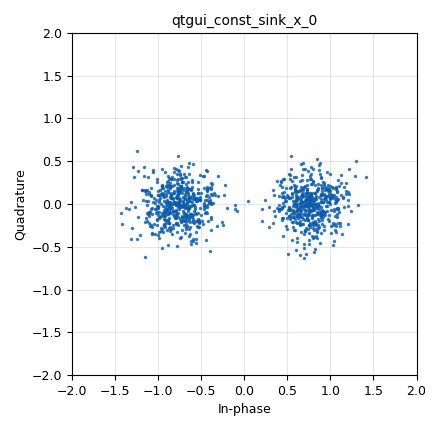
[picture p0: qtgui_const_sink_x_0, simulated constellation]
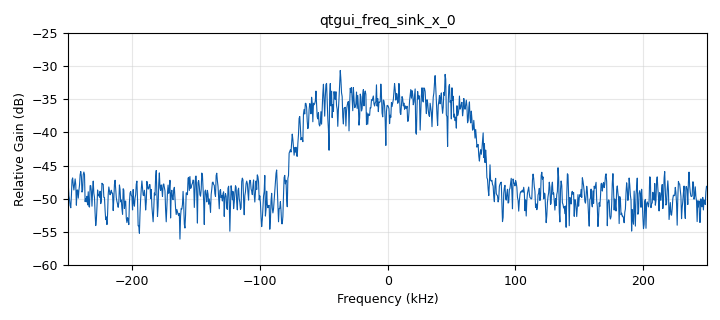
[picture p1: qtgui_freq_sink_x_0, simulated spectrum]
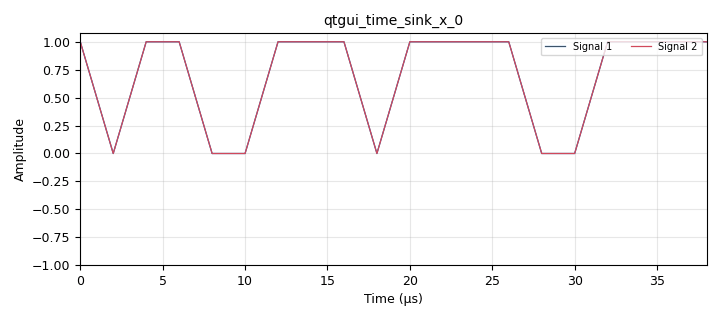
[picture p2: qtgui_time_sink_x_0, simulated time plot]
options:
  parameters:
    author: Marc Lichtman
    generate_options: qt_gui
    id: pn11_over_difi
    output_language: python
    title: PN11 Over DIFI
  states: {}

blocks:
- name: constellation_obj
  id: variable_constellation
  parameters:
    precision: '8'
    type: bpsk
  states: {}
- name: constellation_obj
  id: variable_constellation_rect
  parameters:
    const_points: '[-1-1j, -1+1j, 1+1j, 1-1j]'
    imag_sect: '2'
    real_sect: '2'
    rot_sym: '4'
    sym_map: '[0, 1, 3, 2]'
    w_imag_sect: '1'
    w_real_sect: '1'
  states: {state: disabled}
- name: samp_rate
  id: variable
  parameters:
    value: '500000'
  states: {}
- name: sps
  id: variable
  parameters:
    value: '4'
  states: {}
- name: analog_fastnoise_source_x_0
  id: analog_fastnoise_source_x
  parameters:
    amp: '0.4'
    noise_type: analog.GR_GAUSSIAN
    samples: '8192'
    seed: '0'
    type: complex
  states: {}
- name: blocks_add_xx_0
  id: blocks_add_xx
  parameters:
    type: complex
  states: {}
- name: blocks_char_to_float_0
  id: blocks_char_to_float
  parameters:
    scale: '1'
  states: {}
- name: blocks_char_to_float_0_0
  id: blocks_char_to_float
  parameters:
    scale: '1'
  states: {}
- name: blocks_delay_0_0
  id: blocks_delay
  parameters:
    delay: '21'
    type: byte
  states: {state: disabled}
- name: blocks_message_debug_0
  id: blocks_message_debug
  parameters: {}
  states: {state: disabled}
- name: blocks_multiply_const_vxx_0
  id: blocks_multiply_const_vxx
  parameters:
    const: 127*0.7
    type: complex
  states: {}
- name: blocks_multiply_const_vxx_0_0
  id: blocks_multiply_const_vxx
  parameters:
    comment: |-
      symbol sync likes the
      signal to be close to -1 to +1
    const: 1/127
    type: complex
  states: {}
- name: blocks_pack_k_bits_bb_0
  id: blocks_pack_k_bits_bb
  parameters:
    k: '8'
  states: {}
- name: blocks_probe_rate_0
  id: blocks_probe_rate
  parameters:
    alpha: '0.15'
    mintime: '500.0'
    type: float
  states: {state: disabled}
- name: blocks_skiphead_0
  id: blocks_skiphead
  parameters:
    num_items: '21'
    type: byte
  states: {}
- name: blocks_throttle2_0
  id: blocks_throttle2
  parameters:
    samples_per_second: samp_rate
    type: byte
  states: {}
- name: blocks_unpack_k_bits_bb_0
  id: blocks_unpack_k_bits_bb
  parameters:
    k: '2'
  states: {state: bypassed}
- name: difi_sink_cpp_0
  id: difi_sink_cpp
  parameters:
    bit_depth: '8'
    context_pack_size: '108'
    context_packet_send_count: '1000'
    data_size: '128'
    gain: '1.0'
    ip_addr: 127.0.0.1
    max_iq: '127'
    min_iq: '-127'
    mode: 'False'
    offset: '0'
    port: '50003'
    protocol: '2'
    reference_time_frac: '0'
    reference_time_full: '0'
    sample_rate: samp_rate
    scaling: '2'
    stream_id: '0'
    type: complex
  states: {state: disabled}
- name: difi_source_cpp_0_0
  id: difi_source_cpp
  parameters:
    bit_depth: '8'
    context_behavior: '0'
    ip_addr: 127.0.0.1
    port: '50003'
    protocol: '2'
    stream_num: '0'
    type: complex
  states: {state: disabled}
- name: digital_constellation_decoder_cb_0
  id: digital_constellation_decoder_cb
  parameters:
    constellation: constellation_obj
  states: {}
- name: digital_constellation_modulator_0
  id: digital_constellation_modulator
  parameters:
    constellation: constellation_obj
    differential: 'True'
    excess_bw: '0.35'
    samples_per_symbol: sps
  states: {}
- name: digital_costas_loop_cc_0
  id: digital_costas_loop_cc
  parameters:
    order: '2'
    w: '0.06'
  states: {}
- name: digital_diff_decoder_bb_0
  id: digital_diff_decoder_bb
  parameters:
    coding: digital.DIFF_DIFFERENTIAL
    modulus: '2'
  states: {}
- name: digital_symbol_sync_xx_0
  id: digital_symbol_sync_xx
  parameters:
    damping: '1.0'
    loop_bw: '0.045'
    max_dev: '1.5'
    nfilters: '32'
    osps: '1'
    resamp_type: digital.IR_MMSE_8TAP
    sps: sps
    ted_gain: '1.0'
    ted_type: digital.TED_MUELLER_AND_MULLER
    type: cc
  states: {}
- name: epy_block_0
  id: epy_block
  parameters:
    _source_code: "\"\"\"\nWritten by Marc, adapted from gr-vt\n\"\"\"\n\nimport numpy as np\nfrom gnuradio import gr\nimport operator,copy\nfrom functools import reduce\n\nclass prbs_base:\n    modes = {\n        \"PRBS7\":[0,6,7],\n        \"PRBS15\":[0,14,15],\n        \"PRBS23\":[0,18,23],\n        \"PRBS31\":[0,28,31]\n        }\n\n    def __init__(self, which_mode = \"PRBS31\"):\n        # https://en.wikipedia.org/wiki/Pseudorandom_binary_sequence\n        self.gen_poly = self.modes[which_mode]\n        self.reg  = np.ones([max(self.gen_poly)+1], dtype='uint8')\n        self.reg[0::4] = 0  # pick a seed that likely doesnt start with long strings of 0s or 1s for sanity sake\n        self.init_reg = copy.copy(self.reg)\n        self.idx = 0\n        self.reset_len = 100000\n        self.pregen()\n\n    def pregen(self):\n        self.pre = self.gen_n(self.reset_len, lookup=False)\n\n    def gen_n_nocheck(self, n=1000):\n        o = np.zeros([n],dtype='uint8')\n        for i in range(0, n):\n            nv = reduce(operator.xor, map(lambda x: self.reg[x], self.gen_poly[1:]))\n            self.reg[1:] = self.reg[0:-1]\n            self.reg[0] = nv\n            o[i] = nv\n        return o\n\n    def gen_n_nocheck2(self, n=1000):\n        return self.pre[self.idx:self.idx+n]\n\n    def gen_n(self, n=1000, lookup=True):\n        o = np.array([],dtype='int8')\n        while n > 0:\n            nout = min(n,self.reset_len-self.idx)\n            if lookup:\n                o = np.concatenate([o, self.gen_n_nocheck2(nout)])\n            else:\n                o = np.concatenate([o, self.gen_n_nocheck(nout)])\n            self.idx += nout\n            n -= nout\n            if self.idx == self.reset_len:\n                self.reg[:] = self.init_reg[:]\n                self.idx = 0\n        return o\n        \n\n\nclass blk(gr.sync_block):  # other base classes are basic_block, decim_block, interp_block\n    def __init__(self):  # only default arguments here\n        gr.sync_block.__init__(\n            self,\n            name='PN11',\n            in_sig=[],\n            out_sig=[np.uint8]\n        )\n        self.base = prbs_base(\"PRBS31\")\n\n    def work(self, input_items, output_items):\n        out = output_items[0]\n        nout = len(out)\n        gen = self.base.gen_n(nout)\n        out[:] = gen[:]\n        return nout\n\n\n\n"
  states: {}
- name: epy_block_1
  id: epy_block
  parameters:
    _source_code: "\"\"\"\nWritten by Marc, adapted from gr-vt\n\"\"\"\n\nimport numpy as np\nfrom gnuradio import gr\nimport operator,copy\nfrom functools import reduce\n\nclass prbs_base:\n    modes = {\n        \"PRBS7\":[0,6,7],\n        \"PRBS15\":[0,14,15],\n        \"PRBS23\":[0,18,23],\n        \"PRBS31\":[0,28,31]\n        }\n\n    def __init__(self, which_mode = \"PRBS31\"):\n        # https://en.wikipedia.org/wiki/Pseudorandom_binary_sequence\n        self.gen_poly = self.modes[which_mode]\n        self.reg  = np.ones([max(self.gen_poly)+1], dtype='uint8')\n        self.reg[0::4] = 0  # pick a seed that likely doesnt start with long strings of 0s or 1s for sanity sake\n        self.init_reg = copy.copy(self.reg)\n        self.idx = 0\n        self.reset_len = 100000\n        self.pregen()\n\n    def pregen(self):\n        self.pre = self.gen_n(self.reset_len, lookup=False)\n\n    def gen_n_nocheck(self, n=1000):\n        o = np.zeros([n],dtype='uint8')\n        for i in range(0, n):\n            nv = reduce(operator.xor, map(lambda x: self.reg[x], self.gen_poly[1:]))\n            self.reg[1:] = self.reg[0:-1]\n            self.reg[0] = nv\n            o[i] = nv\n        return o\n\n    def gen_n_nocheck2(self, n=1000):\n        return self.pre[self.idx:self.idx+n]\n\n    def gen_n(self, n=1000, lookup=True):\n        o = np.array([],dtype='int8')\n        while n > 0:\n            nout = min(n,self.reset_len-self.idx)\n            if lookup:\n                o = np.concatenate([o, self.gen_n_nocheck2(nout)])\n            else:\n                o = np.concatenate([o, self.gen_n_nocheck(nout)])\n            self.idx += nout\n            n -= nout\n            if self.idx == self.reset_len:\n                self.reg[:] = self.init_reg[:]\n                self.idx = 0\n        return o\n        \n        \n\nclass blk(gr.sync_block):  # other base classes are basic_block, decim_block, interp_block\n    def __init__(self, skip=0):  # only default arguments here\n        gr.sync_block.__init__(\n            self,\n            name='PN11 BER',\n            in_sig=[np.uint8],\n            out_sig=[]\n        )\n        self.base = prbs_base(\"PRBS31\")\n        self.nbits = 0.0\n        self.nerrs = 0.0\n        self.skip  = skip\n        self.i = 0\n        \n    def work(self, input_items, output_items):\n        inb = input_items[0]\n        gen = self.base.gen_n(len(inb))\n        if(self.nitems_read(0) > self.skip):\n            # only count bit errors after first skip bits\n            self.nerrs += np.sum(np.bitwise_xor(inb, gen).astype('float32'))\n            self.nbits += len(inb)\n        self.i += 1\n        if self.nbits > 0 and self.i > 100:\n            print(\"NBits: %d \\tNErrs: %d \\tBER: %f\"%(int(self.nbits), int(self.nerrs), self.nerrs/self.nbits))\n            self.i = 0\n        return len(inb)\n        \n\n\n"
    skip: '22'
  states: {}
- name: fec_ber_bf_0
  id: fec_ber_bf
  parameters:
    test_mode: 'False'
  states: {state: disabled}
- name: qtgui_const_sink_x_0
  id: qtgui_const_sink_x
  parameters:
    grid: 'True'
    gui_hint: 2,0,1,1
    size: '1024'
    type: complex
  states: {}
- name: qtgui_freq_sink_x_0
  id: qtgui_freq_sink_x
  parameters:
    average: '0.2'
    bw: samp_rate
    fc: '0'
    fftsize: '1024'
    grid: 'True'
    gui_hint: 0,0,1,2
    legend: 'False'
    type: complex
    ymax: '-25'
    ymin: '-60'
  states: {}
- name: qtgui_number_sink_0
  id: qtgui_number_sink
  parameters:
    graph_type: qtgui.NUM_GRAPH_HORIZ
    gui_hint: 2,1,1,1
    type: float
  states: {state: disabled}
- name: qtgui_time_sink_x_0
  id: qtgui_time_sink_x
  parameters:
    nconnections: '2'
    size: '20'
    srate: samp_rate
    type: float
  states: {}
- name: qtgui_time_sink_x_0_0
  id: qtgui_time_sink_x
  parameters:
    autoscale: 'True'
    grid: 'True'
    gui_hint: 1,0,1,2
    label1: I
    label2: Q
    marker1: '0'
    marker2: '0'
    size: '100'
    srate: samp_rate
    type: complex
    update_time: '0.20'
  states: {state: disabled}

connections:
- [analog_fastnoise_source_x_0, '0', blocks_add_xx_0, '0']
- [blocks_add_xx_0, '0', blocks_multiply_const_vxx_0, '0']
- [blocks_char_to_float_0, '0', qtgui_time_sink_x_0, '0']
- [blocks_char_to_float_0_0, '0', blocks_probe_rate_0, '0']
- [blocks_char_to_float_0_0, '0', qtgui_time_sink_x_0, '1']
- [blocks_delay_0_0, '0', blocks_char_to_float_0, '0']
- [blocks_multiply_const_vxx_0, '0', blocks_multiply_const_vxx_0_0, '0']
- [blocks_multiply_const_vxx_0, '0', difi_sink_cpp_0, '0']
- [blocks_multiply_const_vxx_0_0, '0', digital_symbol_sync_xx_0, '0']
- [blocks_multiply_const_vxx_0_0, '0', qtgui_freq_sink_x_0, '0']
- [blocks_multiply_const_vxx_0_0, '0', qtgui_time_sink_x_0_0, '0']
- [blocks_pack_k_bits_bb_0, '0', digital_constellation_modulator_0, '0']
- [blocks_probe_rate_0, rate, blocks_message_debug_0, print]
- [blocks_skiphead_0, '0', blocks_char_to_float_0_0, '0']
- [blocks_skiphead_0, '0', epy_block_1, '0']
- [blocks_throttle2_0, '0', blocks_char_to_float_0, '0']
- [blocks_throttle2_0, '0', blocks_delay_0_0, '0']
- [blocks_unpack_k_bits_bb_0, '0', digital_diff_decoder_bb_0, '0']
- [difi_source_cpp_0_0, '0', blocks_multiply_const_vxx_0_0, '0']
- [digital_constellation_decoder_cb_0, '0', blocks_unpack_k_bits_bb_0, '0']
- [digital_constellation_decoder_cb_0, '0', fec_ber_bf_0, '1']
- [digital_constellation_modulator_0, '0', blocks_add_xx_0, '1']
- [digital_costas_loop_cc_0, '0', digital_constellation_decoder_cb_0, '0']
- [digital_costas_loop_cc_0, '0', qtgui_const_sink_x_0, '0']
- [digital_diff_decoder_bb_0, '0', blocks_skiphead_0, '0']
- [digital_symbol_sync_xx_0, '0', digital_costas_loop_cc_0, '0']
- [epy_block_0, '0', blocks_pack_k_bits_bb_0, '0']
- [epy_block_0, '0', blocks_throttle2_0, '0']
- [fec_ber_bf_0, '0', qtgui_number_sink_0, '0']

metadata:
  file_format: 1
  grc_version: 3.10.9.2
